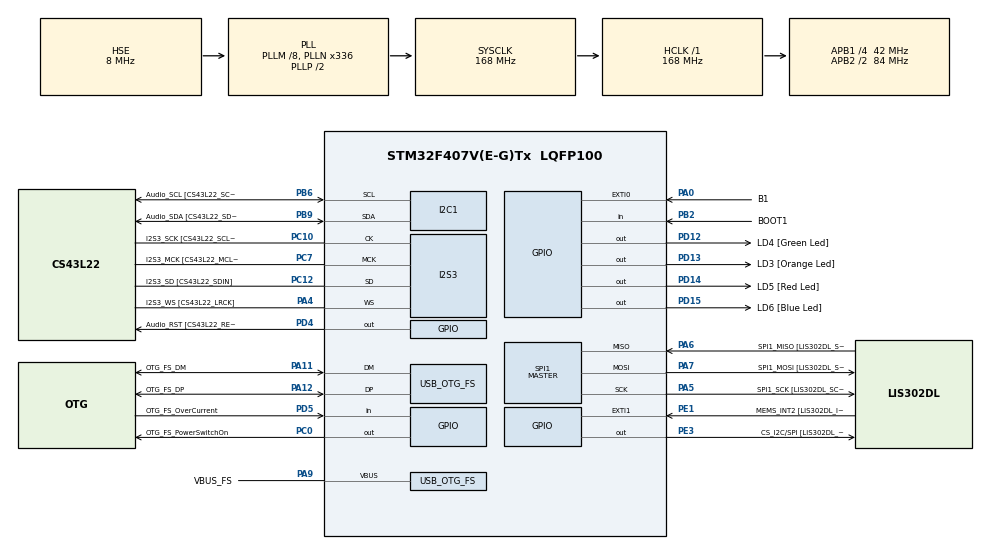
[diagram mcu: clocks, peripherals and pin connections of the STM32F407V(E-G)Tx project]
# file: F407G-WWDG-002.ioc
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I2S3.AudioFreq-Half_Duplex_Master=I2S_AUDIOFREQ_96K
I2S3.ErrorAudioFreq=-2.34 %
I2S3.ErrorAudioFreq-Half_Duplex_Master=0.8 %
I2S3.FullDuplexMode=I2S_FULLDUPLEXMODE_DISABLE
I2S3.Instance=SPI$Index
I2S3.RealAudioFreq=93.75 KHz
I2S3.RealAudioFreq-Half_Duplex_Master=96.774 KHz
I2S3.VirtualMode=I2S_MODE_MASTER
Mcu.Family=STM32F4
Mcu.Name=STM32F407V(E-G)Tx
Mcu.Package=LQFP100
NVIC.EXTI0_IRQn=true\:0\:0\:false\:false\:true\:true\:true\:true
NVIC.OTG_FS_IRQn=true\:0\:0\:false\:false\:true\:true\:true\:true
NVIC.PriorityGroup=NVIC_PRIORITYGROUP_0
NVIC.TIM3_IRQn=true\:0\:0\:false\:false\:true\:true\:true\:true
NVIC.WWDG_IRQn=true\:0\:0\:false\:false\:true\:true\:true\:true
PA0-WKUP.GPIO_Label=B1
PA0-WKUP.Signal=GPXTI0
PA10.GPIO_Label=OTG_FS_ID
PA10.GPIO_Mode=GPIO_MODE_AF_PP
PA10.GPIO_PuPd=GPIO_NOPULL
PA10.GPIO_Speed=GPIO_SPEED_FREQ_LOW
PA10.Signal=USB_OTG_FS_ID
PA11.GPIO_Label=OTG_FS_DM
PA11.GPIO_Mode=GPIO_MODE_AF_PP
PA11.GPIO_PuPd=GPIO_NOPULL
PA11.GPIO_Speed=GPIO_SPEED_FREQ_LOW
PA11.Mode=Host_Only
PA11.Signal=USB_OTG_FS_DM
PA12.GPIO_Label=OTG_FS_DP
PA12.GPIO_Mode=GPIO_MODE_AF_PP
PA12.GPIO_PuPd=GPIO_NOPULL
PA12.GPIO_Speed=GPIO_SPEED_FREQ_LOW
PA12.Mode=Host_Only
PA12.Signal=USB_OTG_FS_DP
PA13.GPIO_Label=SWDIO
PA13.Mode=Serial_Wire
PA13.Signal=SYS_JTMS-SWDIO
PA14.GPIO_Label=SWCLK
PA14.Mode=Serial_Wire
PA14.Signal=SYS_JTCK-SWCLK
PA4.GPIO_Label=I2S3_WS [CS43L22_LRCK]
PA4.GPIO_Mode=GPIO_MODE_AF_PP
PA4.GPIO_PuPd=GPIO_NOPULL
PA4.GPIO_Speed=GPIO_SPEED_FREQ_LOW
PA4.Mode=Half_Duplex_Master
PA4.Signal=I2S3_WS
PA5.GPIO_Label=SPI1_SCK [LIS302DL_SCL/SPC]
PA5.GPIO_Mode=GPIO_MODE_AF_PP
PA5.GPIO_PuPd=GPIO_NOPULL
PA5.GPIO_Speed=GPIO_SPEED_FREQ_LOW
PA5.Mode=Full_Duplex_Master
PA5.Signal=SPI1_SCK
PA6.GPIO_Label=SPI1_MISO [LIS302DL_SDO]
PA6.GPIO_Mode=GPIO_MODE_AF_PP
PA6.GPIO_PuPd=GPIO_NOPULL
PA6.GPIO_Speed=GPIO_SPEED_FREQ_LOW
PA6.Mode=Full_Duplex_Master
PA6.Signal=SPI1_MISO
PA7.GPIO_Label=SPI1_MOSI [LIS302DL_SDA/SDI/SDO]
PA7.GPIO_Mode=GPIO_MODE_AF_PP
PA7.GPIO_PuPd=GPIO_NOPULL
PA7.GPIO_Speed=GPIO_SPEED_FREQ_LOW
PA7.Mode=Full_Duplex_Master
PA7.Signal=SPI1_MOSI
PA9.GPIO_Label=VBUS_FS
PA9.GPIO_Mode=GPIO_MODE_INPUT
PA9.GPIO_PuPd=GPIO_NOPULL
PA9.Mode=Activate_VBUS
PA9.Signal=USB_OTG_FS_VBUS
PB10.GPIO_Label=CLK_IN [MP45DT02_CLK]
PB10.GPIO_Mode=GPIO_MODE_AF_PP
PB10.GPIO_PuPd=GPIO_NOPULL
PB10.GPIO_Speed=GPIO_SPEED_FREQ_LOW
PB10.Signal=I2S2_CK
PB2.GPIO_Label=BOOT1
PB2.GPIO_Mode=GPIO_MODE_INPUT
PB2.GPIO_PuPd=GPIO_NOPULL
PB2.Signal=GPIO_Input
PB3.GPIO_Label=SWO
PB3.Signal=SYS_JTDO-SWO
PB6.GPIO_Label=Audio_SCL [CS43L22_SCL]
PB6.GPIO_Mode=GPIO_MODE_AF_OD
PB6.GPIO_Pu=GPIO_PULLUP
PB6.GPIO_PuPd=GPIO_NOPULL
PB6.GPIO_Speed=GPIO_SPEED_FREQ_LOW
PB6.Mode=I2C
PB6.Signal=I2C1_SCL
PB9.GPIO_Label=Audio_SDA [CS43L22_SDA]
PB9.GPIO_Mode=GPIO_MODE_AF_OD
PB9.GPIO_Pu=GPIO_PULLUP
PB9.GPIO_PuPd=GPIO_NOPULL
PB9.GPIO_Speed=GPIO_SPEED_FREQ_LOW
PB9.Mode=I2C
PB9.Signal=I2C1_SDA
PC0.GPIO_Label=OTG_FS_PowerSwitchOn
PC0.GPIO_PuPd=GPIO_NOPULL
PC0.GPIO_Speed=GPIO_SPEED_FREQ_LOW
PC0.PinState=GPIO_PIN_SET
PC0.Signal=GPIO_Output
PC10.GPIO_Label=I2S3_SCK [CS43L22_SCLK]
PC10.GPIO_Mode=GPIO_MODE_AF_PP
PC10.GPIO_PuPd=GPIO_NOPULL
PC10.GPIO_Speed=GPIO_SPEED_FREQ_LOW
PC10.Mode=Half_Duplex_Master
PC10.Signal=I2S3_CK
PC12.GPIO_Label=I2S3_SD [CS43L22_SDIN]
PC12.GPIO_Mode=GPIO_MODE_AF_PP
PC12.GPIO_PuPd=GPIO_NOPULL
PC12.GPIO_Speed=GPIO_SPEED_FREQ_LOW
PC12.Mode=Half_Duplex_Master
PC12.Signal=I2S3_SD
PC14-OSC32_IN.GPIO_Label=PC14-OSC32_IN
PC14-OSC32_IN.Mode=LSE-External-Oscillator
PC14-OSC32_IN.Signal=RCC_OSC32_IN
PC15-OSC32_OUT.GPIO_Label=PC15-OSC32_OUT
PC15-OSC32_OUT.Mode=LSE-External-Oscillator
PC15-OSC32_OUT.Signal=RCC_OSC32_OUT
PC3.GPIO_Label=PDM_OUT [MP45DT02_DOUT]
PC3.GPIO_Mode=GPIO_MODE_AF_PP
PC3.GPIO_PuPd=GPIO_NOPULL
PC3.GPIO_Speed=GPIO_SPEED_FREQ_LOW
PC3.Signal=I2S2_SD
PC7.GPIO_Label=I2S3_MCK [CS43L22_MCLK]
PC7.GPIO_Mode=GPIO_MODE_AF_PP
PC7.GPIO_PuPd=GPIO_NOPULL
PC7.GPIO_Speed=GPIO_SPEED_FREQ_LOW
PC7.Mode=Master_Clock_Activated
PC7.Signal=I2S3_MCK
PD12.GPIO_Label=LD4 [Green Led]
PD12.GPIO_PuPd=GPIO_NOPULL
PD12.GPIO_Speed=GPIO_SPEED_FREQ_LOW
PD12.Signal=GPIO_Output
PD13.GPIO_Label=LD3 [Orange Led]
PD13.GPIO_PuPd=GPIO_NOPULL
PD13.GPIO_Speed=GPIO_SPEED_FREQ_LOW
PD13.Signal=GPIO_Output
PD14.GPIO_Label=LD5 [Red Led]
PD14.GPIO_PuPd=GPIO_NOPULL
PD14.GPIO_Speed=GPIO_SPEED_FREQ_LOW
PD14.Signal=GPIO_Output
PD15.GPIO_Label=LD6 [Blue Led]
PD15.GPIO_PuPd=GPIO_NOPULL
PD15.GPIO_Speed=GPIO_SPEED_FREQ_LOW
PD15.Signal=GPIO_Output
PD4.GPIO_Label=Audio_RST [CS43L22_RESET]
PD4.GPIO_PuPd=GPIO_NOPULL
PD4.GPIO_Speed=GPIO_SPEED_FREQ_LOW
PD4.Signal=GPIO_Output
PD5.GPIO_Label=OTG_FS_OverCurrent
PD5.GPIO_Mode=GPIO_MODE_INPUT
PD5.GPIO_PuPd=GPIO_NOPULL
PD5.Signal=GPIO_Input
PE1.GPIO_Label=MEMS_INT2 [LIS302DL_INT2]
PE1.GPIO_ModeDefaultEXTI=GPIO_MODE_EVT_RISING
PE1.GPIO_PuPd=GPIO_NOPULL
PE1.Signal=GPXTI1
PE3.GPIO_Label=CS_I2C/SPI [LIS302DL_CS_I2C/SPI]
PE3.GPIO_PuPd=GPIO_NOPULL
PE3.GPIO_Speed=GPIO_SPEED_FREQ_LOW
PE3.Signal=GPIO_Output
PH0-OSC_IN.GPIO_Label=PH0-OSC_IN
PH0-OSC_IN.Mode=HSE-External-Oscillator
PH0-OSC_IN.Signal=RCC_OSC_IN
PH1-OSC_OUT.GPIO_Label=PH1-OSC_OUT
PH1-OSC_OUT.Mode=HSE-External-Oscillator
PH1-OSC_OUT.Signal=RCC_OSC_OUT
ProjectManager.HeapSize=0x200
ProjectManager.StackSize=0x400
ProjectManager.TargetToolchain=STM32CubeIDE
RCC.48MHZClocksFreq_Value=48000000
RCC.AHBFreq_Value=168000000
RCC.APB1CLKDivider=RCC_HCLK_DIV4
RCC.APB1Freq_Value=42000000
RCC.APB1TimFreq_Value=84000000
RCC.APB2CLKDivider=RCC_HCLK_DIV2
RCC.APB2Freq_Value=84000000
RCC.APB2TimFreq_Value=168000000
RCC.CortexFreq_Value=168000000
RCC.HCLKFreq_Value=168000000
RCC.HSE_VALUE=8000000
RCC.HSI_VALUE=16000000
RCC.PLLM=8
RCC.PLLN=336
RCC.PLLQ=7
RCC.SYSCLKFreq_VALUE=168000000
RCC.SYSCLKSource=RCC_SYSCLKSOURCE_PLLCLK
RCC.VCOOutputFreq_Value=336000000
SPI1.BaudRatePrescaler-Full_Duplex_Master=SPI_BAUDRATEPRESCALER_2
SPI1.CalculateBaudRate-Full_Duplex_Master=42.0 MBits/s
SPI1.Direction=SPI_DIRECTION_2LINES
SPI1.Mode=SPI_MODE_MASTER
SPI1.Mode-Full_Duplex_Master=SPI_MODE_MASTER
SPI1.VirtualType=VM_MASTER
TIM3.Period=50-1
TIM3.Prescaler=42000-1
USB_HOST.BSP.number=1
USB_HOST.USBH_HandleTypeDef-CDC_FS=hUsbHostFS
USB_HOST.VirtualModeFS=Cdc
USB_HOST0.BSP.STBoard=false
USB_HOST0.BSP.api=Unknown
USB_HOST0.BSP.instance=PC0
USB_HOST0.BSP.ip=GPIO
USB_HOST0.BSP.mode=Output
USB_HOST0.BSP.name=Drive_VBUS_FS
USB_HOST0.BSP.solution=PC0
USB_OTG_FS.VirtualMode=Host_Only
USB_OTG_FS.phy_itface=HCD_PHY_EMBEDDED
VP_TIM3_VS_ClockSourceINT.Mode=Internal
VP_USB_HOST_VS_USB_HOST_CDC_FS.Mode=CDC_FS
VP_WWDG_VS_WWDG.Mode=WWDG_Activate
WWDG.Counter=102
WWDG.EWIMode=WWDG_EWI_ENABLE
WWDG.Prescaler=WWDG_PRESCALER_8
WWDG.Window=83
board=STM32F407G-DISC1

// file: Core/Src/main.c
/* USER CODE BEGIN Header */
/**
  ******************************************************************************
  * @file           : main.c
  * @brief          : Main program body
  ******************************************************************************
  * @attention
  *
  * Copyright (c) 2025 STMicroelectronics.
  * All rights reserved.
  *
  * This software is licensed under terms that can be found in the LICENSE file
  * in the root directory of this software component.
  * If no LICENSE file comes with this software, it is provided AS-IS.
  *
  ******************************************************************************
  */
/* USER CODE END Header */
#include "main.h"
#include "usb_host.h"

I2C_HandleTypeDef hi2c1;

I2S_HandleTypeDef hi2s3;

SPI_HandleTypeDef hspi1;

TIM_HandleTypeDef htim3;

WWDG_HandleTypeDef hwwdg;

/* USER CODE BEGIN PV */
uint8_t wdg_refresh = 0;
uint8_t button_pressed = 0;
uint8_t wdg_reset_occurred = 0;
/* USER CODE END PV */

void SystemClock_Config(void);
static void MX_GPIO_Init(void);
static void MX_I2C1_Init(void);
static void MX_I2S3_Init(void);
static void MX_SPI1_Init(void);
static void MX_TIM3_Init(void);
static void MX_WWDG_Init(void);
void MX_USB_HOST_Process(void);

int main(void)
{

  /* USER CODE BEGIN 1 */
  // Use the HAL macro to check the Window Watchdog Reset Flag
  if (__HAL_RCC_GET_FLAG(RCC_FLAG_WWDGRST) != RESET)
  {
    // The flag is set, meaning the WWDG caused the last reset.
    wdg_reset_occurred = 1;

    // Perform any required action (e.g., logging the event, restoring data)
  }

  // It is CRITICAL to clear the reset flags, or they will remain set
  // indefinitely (until full power-cycle or explicit clear) and cause
  // false readings on the next reset.
  __HAL_RCC_CLEAR_RESET_FLAGS();
  /* USER CODE END 1 */

  /* MCU Configuration--------------------------------------------------------*/

  /* Reset of all peripherals, Initializes the Flash interface and the Systick. */
  HAL_Init();

  /* Configure the system clock */
  SystemClock_Config();

  /* Initialize all configured peripherals */
  MX_GPIO_Init();
  MX_I2C1_Init();
  MX_I2S3_Init();
  MX_SPI1_Init();
  MX_USB_HOST_Init();
  MX_TIM3_Init();
  MX_WWDG_Init();
  /* USER CODE BEGIN 2 */
  HAL_GPIO_WritePin(GPIOD, LD4_Pin, GPIO_PIN_SET);
  // HAL_GPIO_WritePin(GPIOD, LD4_Pin|LD3_Pin|LD5_Pin|LD6_Pin, GPIO_PIN_SET);
  HAL_TIM_Base_Start_IT(&htim3);
  /* USER CODE END 2 */

  /* Infinite loop */
  while (1)
  {
    MX_USB_HOST_Process();

  }
}

void SystemClock_Config(void)
{
  RCC_OscInitTypeDef RCC_OscInitStruct = {0};
  RCC_ClkInitTypeDef RCC_ClkInitStruct = {0};

  /** Configure the main internal regulator output voltage
  */
  __HAL_RCC_PWR_CLK_ENABLE();
  __HAL_PWR_VOLTAGESCALING_CONFIG(PWR_REGULATOR_VOLTAGE_SCALE1);

  /** Initializes the RCC Oscillators according to the specified parameters
  * in the RCC_OscInitTypeDef structure.
  */
  RCC_OscInitStruct.OscillatorType = RCC_OSCILLATORTYPE_HSE;
  RCC_OscInitStruct.HSEState = RCC_HSE_ON;
  RCC_OscInitStruct.PLL.PLLState = RCC_PLL_ON;
  RCC_OscInitStruct.PLL.PLLSource = RCC_PLLSOURCE_HSE;
  RCC_OscInitStruct.PLL.PLLM = 8;
  RCC_OscInitStruct.PLL.PLLN = 336;
  RCC_OscInitStruct.PLL.PLLP = RCC_PLLP_DIV2;
  RCC_OscInitStruct.PLL.PLLQ = 7;
  if (HAL_RCC_OscConfig(&RCC_OscInitStruct) != HAL_OK)
  {
    Error_Handler();
  }

  /** Initializes the CPU, AHB and APB buses clocks
  */
  RCC_ClkInitStruct.ClockType = RCC_CLOCKTYPE_HCLK|RCC_CLOCKTYPE_SYSCLK
                              |RCC_CLOCKTYPE_PCLK1|RCC_CLOCKTYPE_PCLK2;
  RCC_ClkInitStruct.SYSCLKSource = RCC_SYSCLKSOURCE_PLLCLK;
  RCC_ClkInitStruct.AHBCLKDivider = RCC_SYSCLK_DIV1;
  RCC_ClkInitStruct.APB1CLKDivider = RCC_HCLK_DIV4;
  RCC_ClkInitStruct.APB2CLKDivider = RCC_HCLK_DIV2;

  if (HAL_RCC_ClockConfig(&RCC_ClkInitStruct, FLASH_LATENCY_5) != HAL_OK)
  {
    Error_Handler();
  }
}

static void MX_I2C1_Init(void)
{

  hi2c1.Instance = I2C1;
  hi2c1.Init.ClockSpeed = 100000;
  hi2c1.Init.DutyCycle = I2C_DUTYCYCLE_2;
  hi2c1.Init.OwnAddress1 = 0;
  hi2c1.Init.AddressingMode = I2C_ADDRESSINGMODE_7BIT;
  hi2c1.Init.DualAddressMode = I2C_DUALADDRESS_DISABLE;
  hi2c1.Init.OwnAddress2 = 0;
  hi2c1.Init.GeneralCallMode = I2C_GENERALCALL_DISABLE;
  hi2c1.Init.NoStretchMode = I2C_NOSTRETCH_DISABLE;
  if (HAL_I2C_Init(&hi2c1) != HAL_OK)
  {
    Error_Handler();
  }

}

static void MX_I2S3_Init(void)
{

  hi2s3.Instance = SPI3;
  hi2s3.Init.Mode = I2S_MODE_MASTER_TX;
  hi2s3.Init.Standard = I2S_STANDARD_PHILIPS;
  hi2s3.Init.DataFormat = I2S_DATAFORMAT_16B;
  hi2s3.Init.MCLKOutput = I2S_MCLKOUTPUT_ENABLE;
  hi2s3.Init.AudioFreq = I2S_AUDIOFREQ_96K;
  hi2s3.Init.CPOL = I2S_CPOL_LOW;
  hi2s3.Init.ClockSource = I2S_CLOCK_PLL;
  hi2s3.Init.FullDuplexMode = I2S_FULLDUPLEXMODE_DISABLE;
  if (HAL_I2S_Init(&hi2s3) != HAL_OK)
  {
    Error_Handler();
  }

}

static void MX_SPI1_Init(void)
{

  /* SPI1 parameter configuration*/
  hspi1.Instance = SPI1;
  hspi1.Init.Mode = SPI_MODE_MASTER;
  hspi1.Init.Direction = SPI_DIRECTION_2LINES;
  hspi1.Init.DataSize = SPI_DATASIZE_8BIT;
  hspi1.Init.CLKPolarity = SPI_POLARITY_LOW;
  hspi1.Init.CLKPhase = SPI_PHASE_1EDGE;
  hspi1.Init.NSS = SPI_NSS_SOFT;
  hspi1.Init.BaudRatePrescaler = SPI_BAUDRATEPRESCALER_2;
  hspi1.Init.FirstBit = SPI_FIRSTBIT_MSB;
  hspi1.Init.TIMode = SPI_TIMODE_DISABLE;
  hspi1.Init.CRCCalculation = SPI_CRCCALCULATION_DISABLE;
  hspi1.Init.CRCPolynomial = 10;
  if (HAL_SPI_Init(&hspi1) != HAL_OK)
  {
    Error_Handler();
  }

}

static void MX_TIM3_Init(void)
{

  TIM_ClockConfigTypeDef sClockSourceConfig = {0};
  TIM_MasterConfigTypeDef sMasterConfig = {0};

  htim3.Instance = TIM3;
  htim3.Init.Prescaler = 42000-1;
  htim3.Init.CounterMode = TIM_COUNTERMODE_UP;
  htim3.Init.Period = 50-1;
  htim3.Init.ClockDivision = TIM_CLOCKDIVISION_DIV1;
  htim3.Init.AutoReloadPreload = TIM_AUTORELOAD_PRELOAD_DISABLE;
  if (HAL_TIM_Base_Init(&htim3) != HAL_OK)
  {
    Error_Handler();
  }
  sClockSourceConfig.ClockSource = TIM_CLOCKSOURCE_INTERNAL;
  if (HAL_TIM_ConfigClockSource(&htim3, &sClockSourceConfig) != HAL_OK)
  {
    Error_Handler();
  }
  sMasterConfig.MasterOutputTrigger = TIM_TRGO_RESET;
  sMasterConfig.MasterSlaveMode = TIM_MASTERSLAVEMODE_DISABLE;
  if (HAL_TIMEx_MasterConfigSynchronization(&htim3, &sMasterConfig) != HAL_OK)
  {
    Error_Handler();
  }

}

static void MX_WWDG_Init(void)
{

  hwwdg.Instance = WWDG;
  hwwdg.Init.Prescaler = WWDG_PRESCALER_8;
  hwwdg.Init.Window = 83;
  hwwdg.Init.Counter = 102;
  hwwdg.Init.EWIMode = WWDG_EWI_ENABLE;
  if (HAL_WWDG_Init(&hwwdg) != HAL_OK)
  {
    Error_Handler();
  }

}

static void MX_GPIO_Init(void)
{
  GPIO_InitTypeDef GPIO_InitStruct = {0};

  /* GPIO Ports Clock Enable */
  __HAL_RCC_GPIOE_CLK_ENABLE();
  __HAL_RCC_GPIOC_CLK_ENABLE();
  __HAL_RCC_GPIOH_CLK_ENABLE();
  __HAL_RCC_GPIOA_CLK_ENABLE();
  __HAL_RCC_GPIOB_CLK_ENABLE();
  __HAL_RCC_GPIOD_CLK_ENABLE();

  /*Configure GPIO pin Output Level */
  HAL_GPIO_WritePin(CS_I2C_SPI_GPIO_Port, CS_I2C_SPI_Pin, GPIO_PIN_RESET);

  /*Configure GPIO pin Output Level */
  HAL_GPIO_WritePin(OTG_FS_PowerSwitchOn_GPIO_Port, OTG_FS_PowerSwitchOn_Pin, GPIO_PIN_SET);

  /*Configure GPIO pin Output Level */
  HAL_GPIO_WritePin(GPIOD, LD4_Pin|LD3_Pin|LD5_Pin|LD6_Pin
                          |Audio_RST_Pin, GPIO_PIN_RESET);

  /*Configure GPIO pin : CS_I2C_SPI_Pin */
  GPIO_InitStruct.Pin = CS_I2C_SPI_Pin;
  GPIO_InitStruct.Mode = GPIO_MODE_OUTPUT_PP;
  GPIO_InitStruct.Pull = GPIO_NOPULL;
  GPIO_InitStruct.Speed = GPIO_SPEED_FREQ_LOW;
  HAL_GPIO_Init(CS_I2C_SPI_GPIO_Port, &GPIO_InitStruct);

  /*Configure GPIO pin : OTG_FS_PowerSwitchOn_Pin */
  GPIO_InitStruct.Pin = OTG_FS_PowerSwitchOn_Pin;
  GPIO_InitStruct.Mode = GPIO_MODE_OUTPUT_PP;
  GPIO_InitStruct.Pull = GPIO_NOPULL;
  GPIO_InitStruct.Speed = GPIO_SPEED_FREQ_LOW;
  HAL_GPIO_Init(OTG_FS_PowerSwitchOn_GPIO_Port, &GPIO_InitStruct);

  /*Configure GPIO pin : PDM_OUT_Pin */
  GPIO_InitStruct.Pin = PDM_OUT_Pin;
  GPIO_InitStruct.Mode = GPIO_MODE_AF_PP;
  GPIO_InitStruct.Pull = GPIO_NOPULL;
  GPIO_InitStruct.Speed = GPIO_SPEED_FREQ_LOW;
  GPIO_InitStruct.Alternate = GPIO_AF5_SPI2;
  HAL_GPIO_Init(PDM_OUT_GPIO_Port, &GPIO_InitStruct);

  /*Configure GPIO pin : B1_Pin */
  GPIO_InitStruct.Pin = B1_Pin;
  GPIO_InitStruct.Mode = GPIO_MODE_IT_RISING;
  GPIO_InitStruct.Pull = GPIO_NOPULL;
  HAL_GPIO_Init(B1_GPIO_Port, &GPIO_InitStruct);

  /*Configure GPIO pin : BOOT1_Pin */
  GPIO_InitStruct.Pin = BOOT1_Pin;
  GPIO_InitStruct.Mode = GPIO_MODE_INPUT;
  GPIO_InitStruct.Pull = GPIO_NOPULL;
  HAL_GPIO_Init(BOOT1_GPIO_Port, &GPIO_InitStruct);

  /*Configure GPIO pin : CLK_IN_Pin */
  GPIO_InitStruct.Pin = CLK_IN_Pin;
  GPIO_InitStruct.Mode = GPIO_MODE_AF_PP;
  GPIO_InitStruct.Pull = GPIO_NOPULL;
  GPIO_InitStruct.Speed = GPIO_SPEED_FREQ_LOW;
  GPIO_InitStruct.Alternate = GPIO_AF5_SPI2;
  HAL_GPIO_Init(CLK_IN_GPIO_Port, &GPIO_InitStruct);

  /*Configure GPIO pins : LD4_Pin LD3_Pin LD5_Pin LD6_Pin
                           Audio_RST_Pin */
  GPIO_InitStruct.Pin = LD4_Pin|LD3_Pin|LD5_Pin|LD6_Pin
                          |Audio_RST_Pin;
  GPIO_InitStruct.Mode = GPIO_MODE_OUTPUT_PP;
  GPIO_InitStruct.Pull = GPIO_NOPULL;
  GPIO_InitStruct.Speed = GPIO_SPEED_FREQ_LOW;
  HAL_GPIO_Init(GPIOD, &GPIO_InitStruct);

  /*Configure GPIO pin : OTG_FS_OverCurrent_Pin */
  GPIO_InitStruct.Pin = OTG_FS_OverCurrent_Pin;
  GPIO_InitStruct.Mode = GPIO_MODE_INPUT;
  GPIO_InitStruct.Pull = GPIO_NOPULL;
  HAL_GPIO_Init(OTG_FS_OverCurrent_GPIO_Port, &GPIO_InitStruct);

  /*Configure GPIO pin : MEMS_INT2_Pin */
  GPIO_InitStruct.Pin = MEMS_INT2_Pin;
  GPIO_InitStruct.Mode = GPIO_MODE_EVT_RISING;
  GPIO_InitStruct.Pull = GPIO_NOPULL;
  HAL_GPIO_Init(MEMS_INT2_GPIO_Port, &GPIO_InitStruct);

  /* EXTI interrupt init*/
  HAL_NVIC_SetPriority(EXTI0_IRQn, 0, 0);
  HAL_NVIC_EnableIRQ(EXTI0_IRQn);

}

/* USER CODE BEGIN 4 */
/* Period elapsed callback. */
void HAL_TIM_PeriodElapsedCallback(TIM_HandleTypeDef *htim)
{
  // Check if the interrupt comes from TIM3
  if (htim->Instance == TIM3)
  {
    if (button_pressed == 0)
    {
      HAL_WWDG_Refresh(&hwwdg);
    }

    // Toggle the value to show that WDG is refresh
    wdg_refresh = !wdg_refresh;
  }
}

/*  EXTI line detection callback. */
void HAL_GPIO_EXTI_Callback(uint16_t GPIO_Pin)
{
  if (GPIO_Pin == GPIO_PIN_0) // User Button PA0
  {
    button_pressed = 1;
  }
}

/* WWDG Early Wakeup callback */
void HAL_WWDG_EarlyWakeupCallback(WWDG_HandleTypeDef *hwwdg)
{
  HAL_GPIO_WritePin(GPIOD, LD5_Pin, GPIO_PIN_SET);
}
/* USER CODE END 4 */

void Error_Handler(void)
{
  __disable_irq();
  while (1)
  {
  }
}
